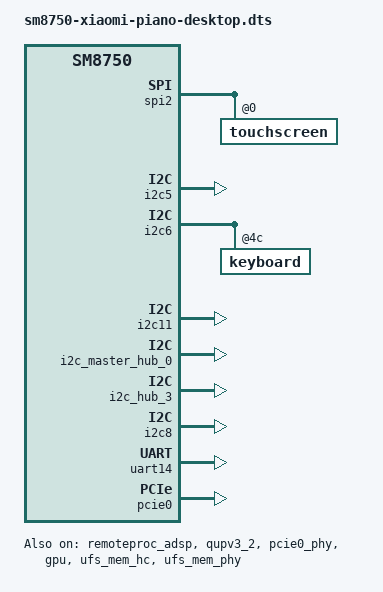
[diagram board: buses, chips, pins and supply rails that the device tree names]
// SPDX-License-Identifier: BSD-3-Clause
/*
 * Xiaomi Pad 8 Pro (piano) as the installed desktop uses it: the board
 * description plus the functions enabled on top of it. Each block was first
 * enabled on its own in a supervised RAM diagnostic (kept on the piano/diag
 * branch); enabling them together does not by itself establish their
 * concurrent operation. USB host/DP and charger control are not enabled.
 */

#include "sm8750-xiaomi-piano.dts"

/ {
	/* Mono capture from DMIC4 through LPASS TX and the ADSP. */
	sound {
		compatible = "qcom,sm8750-sndcard", "qcom,sm8450-sndcard";
		model = "Piano-Capture-Diag";
		aux-devs = <&lpass_vamacro>;

		/* The DMIC clock gates live in VA even when samples use TX. */
		audio-routing = "TX DMIC4", "VA DMIC4",
				"VA DMIC4", "VA_MCLK";

		capture-dai-link {
			link-name = "Internal DMIC Capture";

			cpu {
				sound-dai = <&q6apmbedai TX_CODEC_DMA_TX_3>;
			};

			codec {
				sound-dai = <&lpass_txmacro 0>;
			};

			platform {
				sound-dai = <&q6apm>;
			};
		};
	};

	/*
	 * The charger firmware speaks Xiaomi MCA on the battery manager owner.
	 * No connector yet: DWC3 stays a peripheral without a role switch for
	 * the USB debug link, so UCSI registers its port without role switch,
	 * mux or orientation consumers and AltMode has no port to drive.
	 */
	pmic-glink {
		compatible = "xiaomi,piano-pmic-glink", "qcom,sm8750-pmic-glink",
			     "qcom,sm8550-pmic-glink", "qcom,pmic-glink";
	};
};

&remoteproc_adsp {
	firmware-name = "qcom/sm8750/piano/adsp.mdt",
			"qcom/sm8750/piano/adsp_dtb.mdt";
	status = "okay";
};

&lpass_rxmacro {
	status = "disabled";
};

&lpass_tlmm {
	dmic4_default: dmic4-default-state {
		clk-pins {
			pins = "gpio12";
			function = "dmic3_clk";
			drive-strength = <4>;
			output-high;
		};

		data-pins {
			pins = "gpio13";
			function = "dmic3_data";
			drive-strength = <4>;
			input-enable;
		};
	};
};

&lpass_txmacro {
	pinctrl-names = "default";
	pinctrl-0 = <&dmic4_default>;
};

&lpass_vamacro {
	/* Stock TX requests divide-by-4 from the 9.6 MHz DMIC source. */
	qcom,dmic-sample-rate = <2400000>;
};

&lpass_wsa2macro {
	status = "disabled";
};

&lpass_wsamacro {
	status = "disabled";
};

/* GENI engines whose FIFO the firmware disabled transfer through GPI DMA. */
&gpi_dma1 {
	status = "okay";
};

&gpi_dma2 {
	status = "okay";
};

&spi2 {
	status = "okay";

	touchscreen@0 {
		status = "okay";
	};
};

/* Fuel gauges (I2C5, I2C11) and keyboard bridge (I2C6). */
&i2c5 {
	status = "okay";
};

&i2c6 {
	status = "okay";

	keyboard@4c {
		status = "okay";
	};
};

&i2c11 {
	status = "okay";
};

/* Both KTZ8866 backlight chips: the panel brightness. */
&i2c_master_hub_0 {
	status = "okay";
};

&i2c_hub_3 {
	status = "okay";
};

&i2c8 {
	status = "okay";
};

&vreg_l11b_1p8 {
	regulator-initial-mode = <RPMH_REGULATOR_MODE_HPM>;
};

&vreg_l14b_3p3 {
	regulator-initial-mode = <RPMH_REGULATOR_MODE_HPM>;
};

&qupv3_2 {
	status = "okay";
};

/* WCN7860: Bluetooth on UART14, WLAN on PCIe0. */
&uart14 {
	status = "okay";
};

&wcn7860_pmu {
	status = "okay";
};

&pcie0 {
	status = "okay";
};

&pcie0_phy {
	status = "okay";
};

&gpu {
	status = "okay";
};

/* The root file system. */
&ufs_mem_hc {
	status = "okay";
};

&ufs_mem_phy {
	status = "okay";
};
